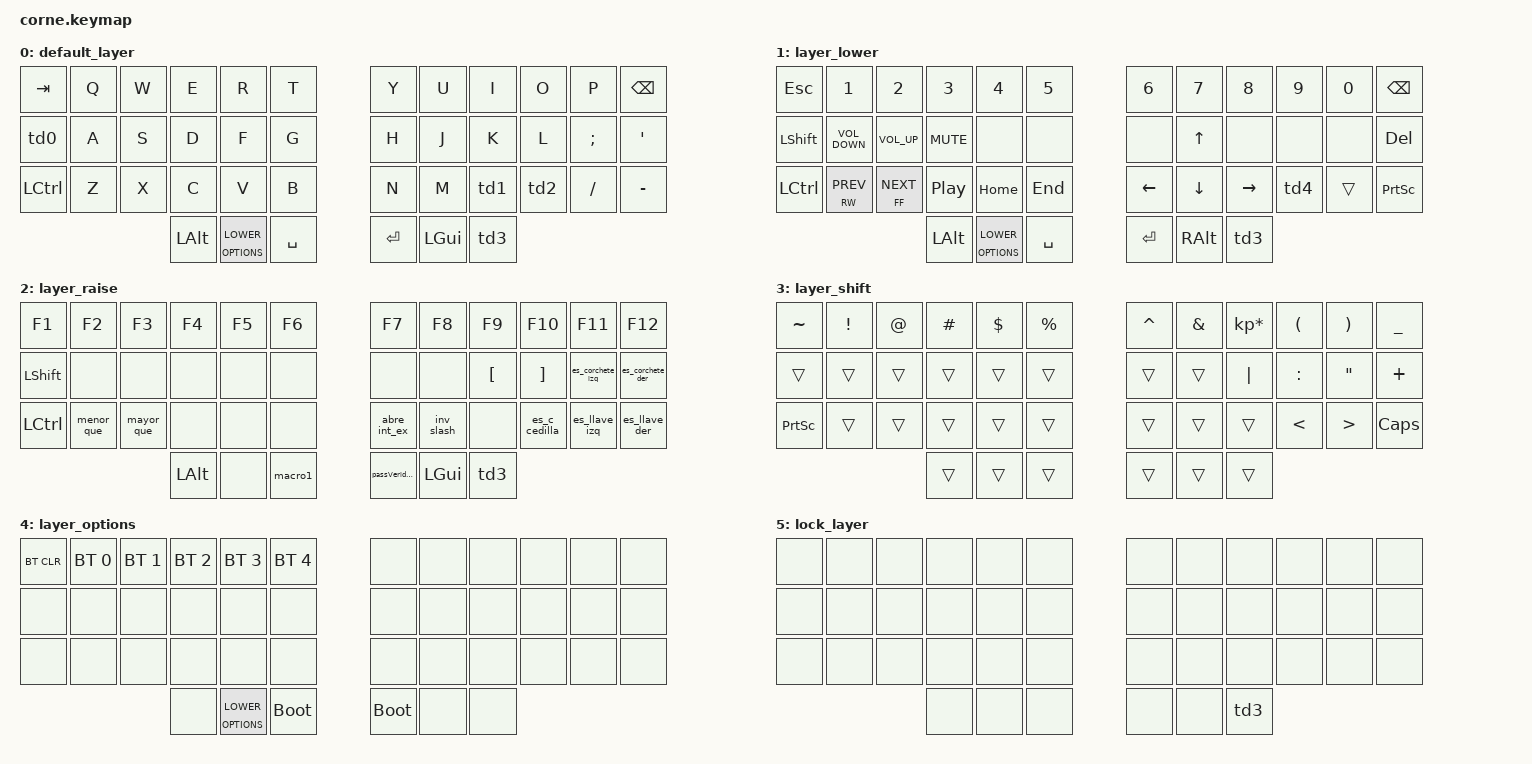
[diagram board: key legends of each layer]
//https://zmk.dev/docs/codes
//https://zmk.dev/docs/development/new-shield

#include <behaviors.dtsi>
#include <dt-bindings/zmk/keys.h>
#include <dt-bindings/zmk/bt.h>
#include <dt-bindings/zmk/rgb.h>
#include <dt-bindings/zmk/backlight.h>
#include <dt-bindings/zmk/ext_power.h>
#include <dt-bindings/zmk/outputs.h>

#include "zmk-helpers/helper.h"
#include "unicode-chars/spanish.dtsi"

#define LOWER 1
#define RAISE 2
#define SHIFT 3
#define OPTIONS 4
#define LOCK 5

/*
&mt es una abreviatura de "mod-tap". Este comportamiento permite que una tecla funcione como un modificador 
(como Shift, Ctrl, Alt, etc.) cuando se mantiene presionada, y como una tecla normal cuando se pulsa y se suelta 
rápidamente. Por ejemplo, &mt LSFT A hará que una tecla funcione como "A" cuando se pulsa y se suelta rápidamente, 
y como Shift izquierdo cuando se mantiene presionada.

&kt es una abreviatura de "key tap". Este comportamiento permite que una tecla funcione como una tecla normal cuando 
se pulsa y se suelta rápidamente, pero también puede tener un comportamiento diferente si se mantiene presionada. Sin 
embargo, a diferencia de &mt, &kt no está limitado a los modificadores y puede asignar cualquier comportamiento a la 
acción de mantener presionada.

Por lo tanto, la principal diferencia entre &mt y &kt es que &mt está limitado a los modificadores para la acción de 
mantener presionada, mientras que &kt puede asignar cualquier comportamiento a la acción de mantener presionada.
*/

/ {
    behaviors {
        
        // Hold-tap behavior
        ht: ht {
            compatible = "zmk,behavior-hold-tap";
            #binding-cells = <2>;
            tapping-term-ms = <170>;
            //flavor = "tap-preferred"; por defecto en situaciones ambiguas que haga el hold
            bindings =
                <&kp>,
                <&kp>;
        };

        // Toggle layers
        tl: tl{
            compatible = "zmk,behavior-hold-tap";
            #binding-cells = <2>;
            flavor = "tap-preferred";                
            tapping-term-ms = <350>;                // Tiempo para determinar entre tap y hold
            bindings = <&tog>, <&tog>;  // Capa Lower para tap, Capa Options para hold
        };

        // Tap dance CAPSLOCK
        td0: td0 {
            compatible = "zmk,behavior-tap-dance";
            #binding-cells = <0>;
            tapping-term-ms = <170>;
            bindings = <&kp LSHFT>, <&kp CAPSLOCK>;
        };
        //, ;
        td1: td1 { 
            compatible = "zmk,behavior-tap-dance";
            #binding-cells = <0>;
            tapping-term-ms = <200>;
            bindings = <&kp COMMA>, <&kp LT>;
        };
        //. :
        td2: td2 { 
            compatible = "zmk,behavior-tap-dance";
            #binding-cells = <0>;
            tapping-term-ms = <200>;
            bindings = <&kp DOT>, <&kp GT>;
        };

        // Raise, Lock
        td3:td3{
            compatible = "zmk,behavior-tap-dance";
            #binding-cells = <0>;
            tapping-term-ms = <200>;
            bindings = <&mo RAISE>, <&tog LOCK>;
        };
        
        //. ,
        td4: td4 {
            compatible = "zmk,behavior-tap-dance";
            #binding-cells = <0>;
            tapping-term-ms = <200>;
            bindings = <&kp DOT>, <&kp COMMA>;
        };
        
        //TAB ESCAPE
        // td5:td5{
        //     compatible = "zmk,behavior-tap-dance";
        //     #binding-cells = <0>;
        //     tapping-term-ms = <200>;
        //     bindings = <&kp TAB>, <&kp ESC>;
        // };

        // Backspace Delete
        // mod1: mod1 {
        //     compatible = "zmk,behavior-mod-morph";
        //     #binding-cells = <0>;
        //     bindings = <&kp BACKSPACE>, <&kp DELETE>;
        //     mods = <(MOD_LSFT|MOD_RSFT)>;
        //     keep-mods = <(MOD_RSFT)>;
        // };
    };
    
    // conditional_layers {
    //     compatible = "zmk,conditional-layers";

    //     tri_layer {
    //         if-layers = <LOWER RAISE>;
    //         then-layer = <OPTIONS>;
    //     };
    // };
	
    macros {
        macro1: macro1 {
            compatible = "zmk,behavior-macro";
            #binding-cells = <0>;
            bindings = <&kp LA(F4)>;
        };
        passVeridata: passVeridata {
            compatible = "zmk,behavior-macro";
            #binding-cells = <0>;
            bindings = <&kp CAPSLOCK &kp A &kp B &kp C &kp D &kp CAPSLOCK &kp QUESTION &kp KP_N1 &kp KP_N2 &kp KP_N3 &kp KP_N4>;
        }; 
    };

    
    combos {
        compatible = "zmk,combos";
        combo_code {
            timeout-ms = <50>;
            key-positions = <38 1>;
            bindings = <&kp LG(NUMBER_4)>;
        };

        combo_explorador {
            timeout-ms = <50>;
            key-positions = <38 2>;
            bindings = <&kp LG(NUMBER_5)>;
        };

        combo_discord {
            timeout-ms = <50>;
            key-positions = <38 3>;
            bindings = <&kp LG(NUMBER_6)>;
        };

        combo_brave {
            timeout-ms = <50>;
            key-positions = <38 4>;
            bindings = <&kp LG(NUMBER_7)>;
        };
    };

    
    keymap {

        compatible = "zmk,keymap";
        // Layer Default - QWERTY
        // |  TAB  |  Q  |  W  |  E  |   R   |  T  |       |  Y  |  U  |  I  |  O  |  P  |    BKSP  |
        // |  TD0  |  A  |  S  |  D  |   F   |  G  |       |  H  |  J  |  K  |  L  |  Ñ  |   ´¨{}   |
        // | LCTRL |  Z  |  X  |  C  |   V   |  B  |       |  N  |  M  |  ,; |  .: |  -_ |    '?    |
        //                     | ALT | LW/OPT| SPC |       | ENT | LGUI| TD3 |
        default_layer {
            bindings = <
                &kp TAB &kp Q       &kp W       &kp E       &kp R   &kp T               &kp Y       &kp U       &kp I           &kp O           &kp P       &kp BACKSPACE
                &td0        &kp A       &kp S       &kp D       &kp F   &kp G               &kp H       &kp J       &kp K           &kp L           &kp SEMI    &kp SQT
                &kp LCTRL   &kp Z       &kp X       &kp C       &kp V   &kp B               &kp N       &kp M       &td1      &td2        &kp SLASH   &kp MINUS
                                                    &kp LALT    &tl OPTIONS LOWER    &kp SPACE           &kp ENTER   &kp LGUI    &td3
            >;
        };
        // -----------------------------------------------------------------------------------------
        // Layer Lower - Number pad and media keys
        // |  ESC  |  1   |  2   |  3   |  4     |  5   |       |  6   |  7   |  8   |  9   |  0   | BKSP/DEL |
        // | LSHFT | VOL+ | VOL- | MUTE | &none  | &none|       | &none|  UP  | &none| &none| &none| DEL      |
        // | LCTRL | REW  |  FF  | PLAY | HOME   |  END |       | LEFT | DOWN | RGHT |  .,  | &none| PRINT    |
        //                       | ALT  | LW/OPT |  SPC |       | ENT  | RALT | RAISE/LOCK |
        layer_lower {
            bindings = <
                &kp ESCAPE &kp NUMBER_1    &kp NUMBER_2    &kp NUMBER_3        &kp NUMBER_4  &kp NUMBER_5              &kp NUMBER_6 &kp NUMBER_7 &kp NUMBER_8  &kp NUMBER_9  &kp NUMBER_0  &kp BACKSPACE
                &kp LSHFT  &kp C_VOLUME_DOWN  &kp C_VOL_UP    &kp C_MUTE          &none       &none                       &none       &kp UP      &none        &none          &none       &kp DELETE
                &kp LCTRL  &ht C_RW C_PREV &ht C_FF C_NEXT &kp C_PLAY_PAUSE    &kp HOME    &kp END                     &kp LEFT    &kp DOWN    &kp RIGHT    &td4  &trans      &kp PRINTSCREEN
                                                    &kp LALT    &tl OPTIONS LOWER    &kp SPACE           &kp ENTER   &kp RALT    &td3
            >;
        };
        // -----------------------------------------------------------------------------------------
        // Layer RAISE
        // |  FN1  |  FN2  |  FN3  |  FN4  |  FN5  |  FN6 |       |  FN7 |  FN8  |  FN9 | FN10 |  FN11 |  FN12 |
        // | LSHFT | &none | &none | &none | &none | &none|       | &none| &none | `^[  | +*]  |   [   |   ]   |
        // | LCTRL |   <   |   >   | &none | &none | &none|       |  ¿¡  |   \º  | &none|  çÇ  |   {   |   }   |
        //                         |  ALT  | &none |ALT+F4|       |  ENT |  RALT | RAISE/LOCK |
        layer_raise {
            bindings = <
                &kp F1  &kp F2          &kp F3      &kp F4  &kp F5  &kp F6              &kp F7          &kp F8  &kp F9     &kp F10     &kp F11   &kp F12
                &kp LSHFT  &none        &none       &none   &none   &none               &none           &none   &kp LBKT   &kp RBKT    &es_corchete_izq   &es_corchete_der
                &kp LCTRL  &menor_que   &mayor_que  &none   &none   &none               &abre_int_ex    &inv_slash   &none   &es_c_cedilla    &es_llave_izq   &es_llave_der
                                                    &kp LALT &none  &macro1             &passVeridata   &kp LGUI  &td3
            >;
        };

        layer_shift {
            bindings = <
                &kp TILDE        &kp EXCL        &kp AT         &kp HASH       &kp DLLR        &kp PRCNT       &kp CARET       &kp AMPS       &kp KP_MULTIPLY       &kp LPAR       &kp RPAR       &kp UNDERSCORE
                &trans           &trans          &trans         &trans         &trans          &trans          &trans          &trans         &kp PIPE               &kp COLON      &kp DOUBLE_QUOTES  &kp PLUS
                &kp PRINTSCREEN  &trans          &trans         &trans         &trans          &trans          &trans          &trans         &trans                &kp LESS_THAN  &kp GREATER_THAN   &kp CAPSLOCK
                                            &trans           &trans          &trans         &trans        &trans             &trans
            >;
        };
        // -----------------------------------------------------------------------------------------
        // Layer OPTIONS
        // | BT_CLR |  BT0  |  BT1  |  BT2  |  BT3  |  BT4   |       | &none  | &none | &none | &none | &none | soft_off |
        // | &none  | &none | &none | &none | &none | &none  |       | &none  | &none | &none | &none | &none | &none    |
        // | &none  | &none | &none | &none | &none | &none  |       | &none  | &none | &none | &none | &none | &none    |
        // | &none  | &none | &none | &none | LW/OPT| bootldr|       | bootldr| &none | &none | &none | &none | &none    |
        // 
        layer_options {
            bindings = <
                &bt BT_CLR &bt BT_SEL 0   &bt BT_SEL 1  &bt BT_SEL 2   &bt BT_SEL 3   &bt BT_SEL 4              &none          &none   &none   &none   &none   &none 
                &none      &none          &none         &none          &none          &none                     &none          &none   &none   &none   &none   &none
                &none      &none          &none         &none          &none          &none                     &none          &none   &none   &none   &none   &none
                                                        &none          &tl OPTIONS LOWER &bootloader            &bootloader    &none   &none                                            
            >;
            //&ext_power EP_TOG  &none          &bootloader           &bootloader  &rgb_ug RGB_TOG &out OUT_TOG 
        };
        // -----------------------------------------------------------------------------------------
        // Layer LOCK
        // | &none | &none | &none | &none | &none | &none |       | &none | &none | &none | &none | &none | &none |
        // | &none | &none | &none | &none | &none | &none |       | &none | &none | &none | &none | &none | &none |
        // | &none | &none | &none | &none | &none | &none |       | &none | &none | &none | &none | &none | &none |
        //                         | &none | &none | &none |       | &none | &none | RAISE/LOCK |
        lock_layer {
            bindings = <
                &none      &none      &none      &none      &none    &none                            &none      &none     &none      &none      &none      &none
                &none      &none      &none      &none      &none    &none                            &none      &none     &none      &none      &none      &none
                &none      &none      &none      &none      &none    &none                            &none      &none     &none      &none      &none      &none
                                                 &none      &none    &none                            &none      &none     &td3
            >;
        };
    };
};
